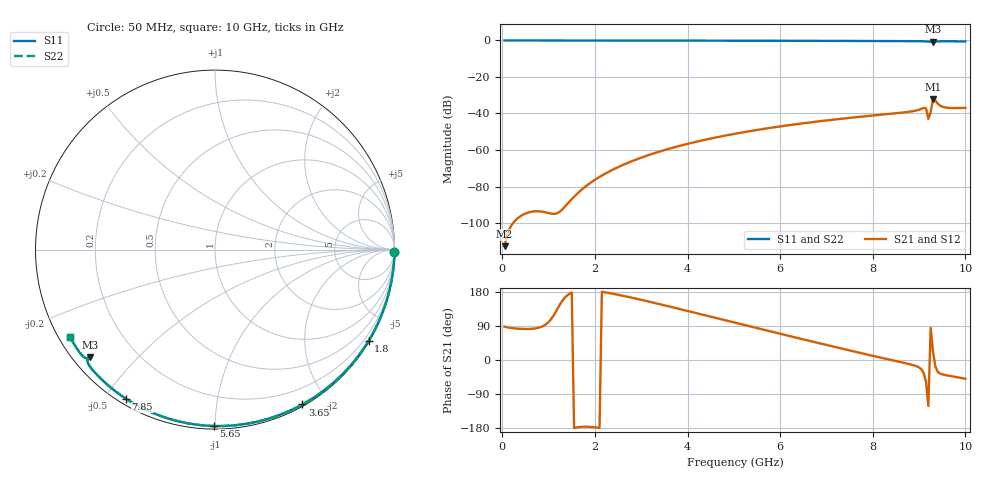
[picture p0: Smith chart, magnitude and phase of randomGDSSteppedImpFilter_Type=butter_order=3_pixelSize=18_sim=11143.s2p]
! freq	dB(S11)	phase(S11)	dB(S12)	phase(S12)
!  dB(S21)	phase(S21)	dB(S22)	phase(S22)
!S-par simulation data
#  GHz  S  DB  R 50
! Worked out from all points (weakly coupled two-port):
!   200 points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, 50 MHz to 10 GHz, reference 50 ohm
!   highest |S21| = -32.31 dB at 9.3 GHz (marker M1); lowest = -112.7 dB at 50 MHz (marker M2)
!   lowest |S11| = -0.7 dB at 9.3 GHz (marker M3), VSWR 24.06, Z = 2.36 - j18.5 ohm
!   |S11| at or under -10 dB: nowhere
!   |S22| runs from -0.7 to 0.0 dB; largest |S21 - S12| = 0
!   S11 on the Smith chart (normalised r, x): 50 MHz: open; 1.8 GHz: 0.03, -3.65; 3.65 GHz: 0.02, -1.71; 5.65 GHz: 0.02, -0.99; 7.85 GHz: 0.02, -0.57; 10 GHz: 0.03, -0.28
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0.05  -0.00 -0.9  -112.66 88.1  -112.66 88.1  -0.00 -0.9
1.75  -0.04 -29.8  -80.94 -176.0  -80.94 -176.0  -0.04 -29.8
1.8  -0.04 -30.7  -79.92 -176.0  -79.92 -176.0  -0.04 -30.7
2.1  -0.05 -35.6  -74.73 -179.2  -74.73 -179.2  -0.05 -35.6
2.5  -0.05 -42.2  -69.37 172.2  -69.37 172.2  -0.05 -42.2
3.4  -0.08 -56.6  -60.81 147.3  -60.81 147.3  -0.08 -56.6
3.65  -0.08 -60.6  -58.96 139.9  -58.96 139.9  -0.08 -60.6
5.05  -0.13 -81.8  -50.98 97.8  -50.98 97.8  -0.13 -81.8
5.65  -0.15 -90.4  -48.41 79.7  -48.41 79.7  -0.15 -90.4
6.7  -0.20 -105.2  -44.70 48.5  -44.70 48.5  -0.20 -105.2
7.85  -0.28 -120.8  -41.48 15.2  -41.48 15.2  -0.28 -120.8
8.35  -0.33 -127.5  -40.25 1.3  -40.25 1.3  -0.33 -127.5
8.85  -0.38 -134.4  -38.80 -12.8  -38.80 -12.8  -0.38 -134.4
9.1  -0.45 -138.3  -36.96 -34.7  -36.96 -34.7  -0.45 -138.3
9.15  -0.54 -139.2  -37.18 -58.3  -37.18 -58.3  -0.53 -139.2
9.2  -0.65 -139.4  -42.96 -121.5  -42.96 -121.5  -0.64 -139.4
9.25  -0.68 -139.6  -39.23 84.7  -39.23 84.7  -0.68 -139.7
9.3  -0.72 -139.3  -32.31 23.1  -32.31 23.1  -0.73 -139.4
9.35  -0.58 -139.4  -32.81 -16.3  -32.81 -16.3  -0.59 -139.4
9.45  -0.48 -141.2  -35.60 -35.6  -35.60 -35.6  -0.49 -141.2
9.55  -0.47 -142.7  -36.61 -39.4  -36.61 -39.4  -0.47 -142.7
10  -0.51 -149.0  -36.92 -49.6  -36.92 -49.6  -0.51 -149.0
